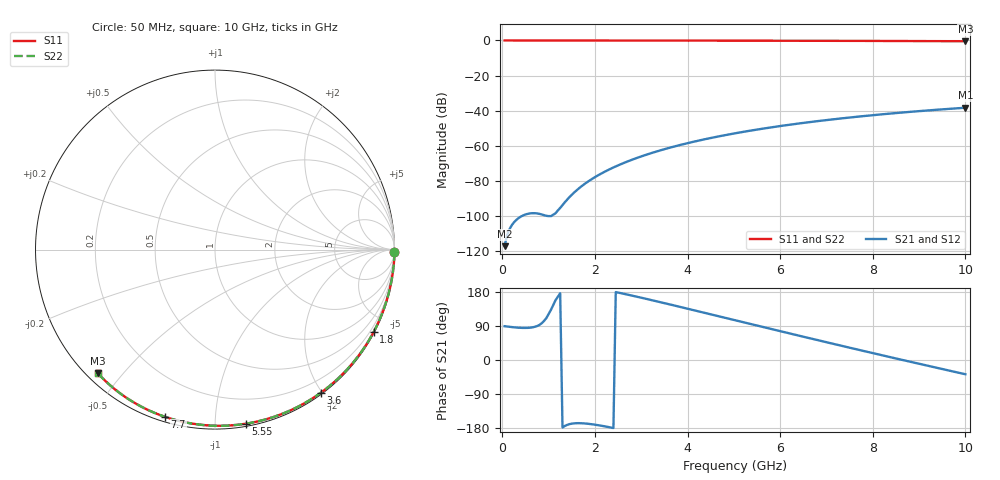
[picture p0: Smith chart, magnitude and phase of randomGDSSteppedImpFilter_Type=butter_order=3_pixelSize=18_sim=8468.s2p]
! freq	dB(S11)	phase(S11)	dB(S12)	phase(S12)
!  dB(S21)	phase(S21)	dB(S22)	phase(S22)
!S-par simulation data
#  GHz  S  DB  R 50
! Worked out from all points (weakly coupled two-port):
!   200 points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, 50 MHz to 10 GHz, reference 50 ohm
!   highest |S21| = -38.33 dB at 10 GHz (marker M1); lowest = -117.2 dB at 50 MHz (marker M2)
!   lowest |S11| = -0.5 dB at 10 GHz (marker M3), VSWR 38.59, Z = 1.53 - j21.5 ohm
!   |S11| at or under -10 dB: nowhere
!   |S22| runs from -0.5 to 0.0 dB; largest |S21 - S12| = 0
!   S11 on the Smith chart (normalised r, x): 50 MHz: open; 1.8 GHz: 0.04, -4.11; 3.6 GHz: 0.02, -1.99; 5.55 GHz: 0.02, -1.20; 7.7 GHz: 0.02, -0.75; 10 GHz: 0.03, -0.43
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0.05  -0.00 -0.8  -117.21 89.2  -117.21 89.2  -0.00 -0.8
0.9  -0.02 -13.8  -99.54 103.0  -99.54 103.0  -0.02 -13.8
1.75  -0.03 -26.6  -82.29 -167.1  -82.29 -167.1  -0.03 -26.6
1.8  -0.03 -27.4  -81.33 -167.6  -81.33 -167.6  -0.03 -27.4
1.85  -0.04 -28.1  -80.42 -168.2  -80.42 -168.2  -0.04 -28.1
1.9  -0.04 -28.8  -79.54 -168.9  -79.54 -168.9  -0.04 -28.8
2.05  -0.04 -31.1  -77.11 -171.6  -77.11 -171.6  -0.04 -31.1
2.25  -0.04 -34.0  -74.26 -175.9  -74.26 -175.9  -0.04 -34.0
2.45  -0.05 -37.0  -71.75 179.2  -71.75 179.2  -0.05 -37.0
2.65  -0.05 -39.9  -69.50 174.0  -69.50 174.0  -0.05 -39.9
3  -0.06 -44.9  -66.07 164.4  -66.07 164.4  -0.06 -44.9
3.4  -0.07 -50.6  -62.71 153.0  -62.71 153.0  -0.07 -50.6
3.6  -0.07 -53.5  -61.22 147.2  -61.22 147.2  -0.07 -53.5
4.3  -0.09 -63.2  -56.70 126.5  -56.70 126.5  -0.09 -63.2
5.05  -0.11 -73.3  -52.78 104.2  -52.78 104.2  -0.11 -73.3
5.55  -0.13 -79.8  -50.56 89.4  -50.56 89.4  -0.13 -79.8
6.1  -0.15 -86.9  -48.39 73.2  -48.39 73.2  -0.15 -86.9
6.7  -0.18 -94.4  -46.31 55.6  -46.31 55.6  -0.18 -94.4
7.7  -0.24 -106.6  -43.36 26.7  -43.36 26.7  -0.24 -106.6
8.35  -0.29 -114.3  -41.72 8.3  -41.72 8.3  -0.29 -114.3
9.15  -0.36 -123.7  -39.95 -14.1  -39.95 -14.1  -0.36 -123.7
10  -0.45 -133.5  -38.33 -37.6  -38.33 -37.6  -0.45 -133.5
